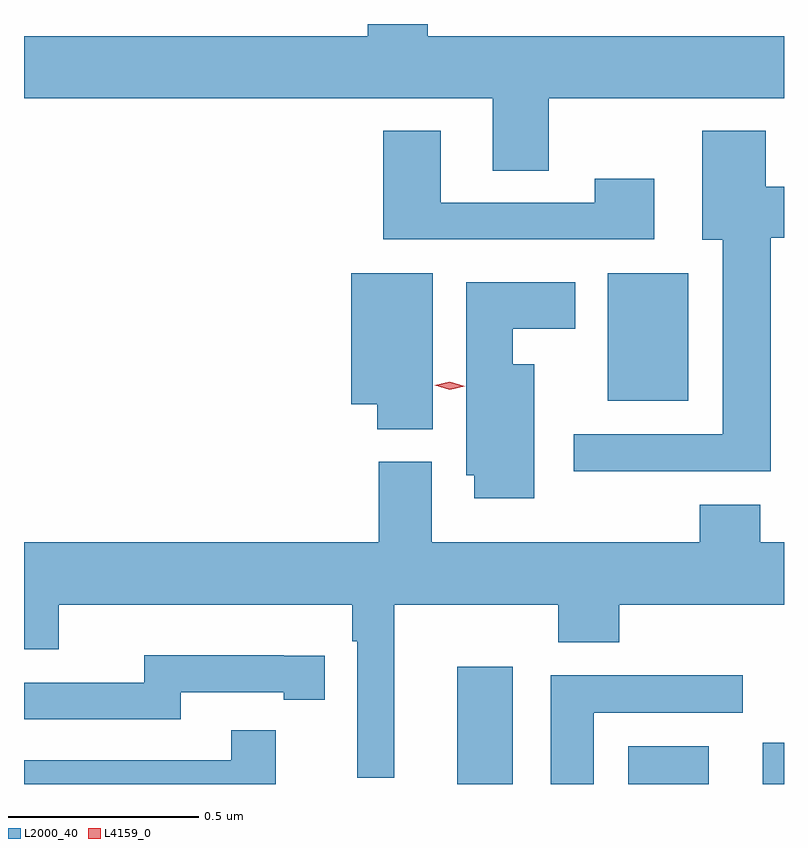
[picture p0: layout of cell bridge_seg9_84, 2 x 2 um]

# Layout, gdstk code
import gdstk
lib = gdstk.Library(unit=1e-6, precision=1e-09)
def R(c, l, rs):  # rectangles x0, y0, x1, y1
    for r in rs: c.add(gdstk.rectangle(r[:2], r[2:], *l))
def P(c, l, *ps):  # polygons
    for p in ps: c.add(gdstk.Polygon(p, *l))
L2000_40 = (2000, 40)
L4159_0 = (4159, 0)

bridge_seg9_84 = lib.new_cell('bridge_seg9_84')
R(bridge_seg9_84, L2000_40, [(882.842,1241.236,882.988,1241.545), (883.292,1241.236,883.504,1241.335), (883.646,1241.236,883.702,1241.344), (883.238,1242.245,883.45,1242.58)])
P(bridge_seg9_84, L2000_40, [(883.083,1243.04),(883.702,1243.04),(883.702,1243.204),(882.764,1243.204),(882.764,1243.236),(882.607,1243.236),(882.607,1243.204),(881.702,1243.204),(881.702,1243.04),(882.935,1243.04),(882.935,1242.85),(883.083,1242.85)],
  [(883.667,1242.674),(883.702,1242.674),(883.702,1242.808),(883.654,1242.808),(883.654,1242.955),(883.487,1242.955),(883.487,1242.668),(883.541,1242.668),(883.541,1242.156),(883.149,1242.156),(883.149,1242.059),(883.667,1242.059)],
  [(883.36,1242.829),(883.204,1242.829),(883.204,1242.765),(882.799,1242.765),(882.799,1242.955),(882.647,1242.955),(882.647,1242.669),(883.36,1242.669)],
  [(882.778,1242.58),(882.563,1242.58),(882.563,1242.236),(882.632,1242.236),(882.632,1242.169),(882.778,1242.169)],
  [(883.045,1242.34),(882.988,1242.34),(882.988,1242.434),(883.153,1242.434),(883.153,1242.556),(882.866,1242.556),(882.866,1242.048),(882.887,1242.048),(882.887,1241.988),(883.045,1241.988)],
  [(883.108,1241.609),(883.268,1241.609),(883.268,1241.708),(883.702,1241.708),(883.702,1241.872),(883.64,1241.872),(883.64,1241.971),(883.48,1241.971),(883.48,1241.872),(882.775,1241.872),(882.775,1242.084),(882.635,1242.084),(882.635,1241.872),(881.702,1241.872),(881.702,1241.591),(881.794,1241.591),(881.794,1241.708),(882.566,1241.708),(882.566,1241.612),(882.579,1241.612),(882.579,1241.253),(882.676,1241.253),(882.676,1241.708),(883.108,1241.708)],
  [(882.114,1241.478),(882.386,1241.478),(882.386,1241.458),(882.494,1241.458),(882.494,1241.574),(882.386,1241.574),(882.386,1241.575),(882.018,1241.575),(882.018,1241.502),(881.702,1241.502),(881.702,1241.406),(882.114,1241.406)],
  [(883.201,1241.424),(883.594,1241.424),(883.594,1241.522),(883.088,1241.522),(883.088,1241.236),(883.201,1241.236)],
  [(882.365,1241.377),(882.247,1241.377),(882.247,1241.298),(881.702,1241.298),(881.702,1241.236),(882.365,1241.236)])
P(bridge_seg9_84, L4159_0, [(882.822,1242.274),(882.783,1242.285),(882.783,1242.285),(882.783,1242.285),(882.823,1242.294),(882.862,1242.283),(882.862,1242.283),(882.862,1242.283)])

lib.write_gds('bridge_seg9_84.gds')
